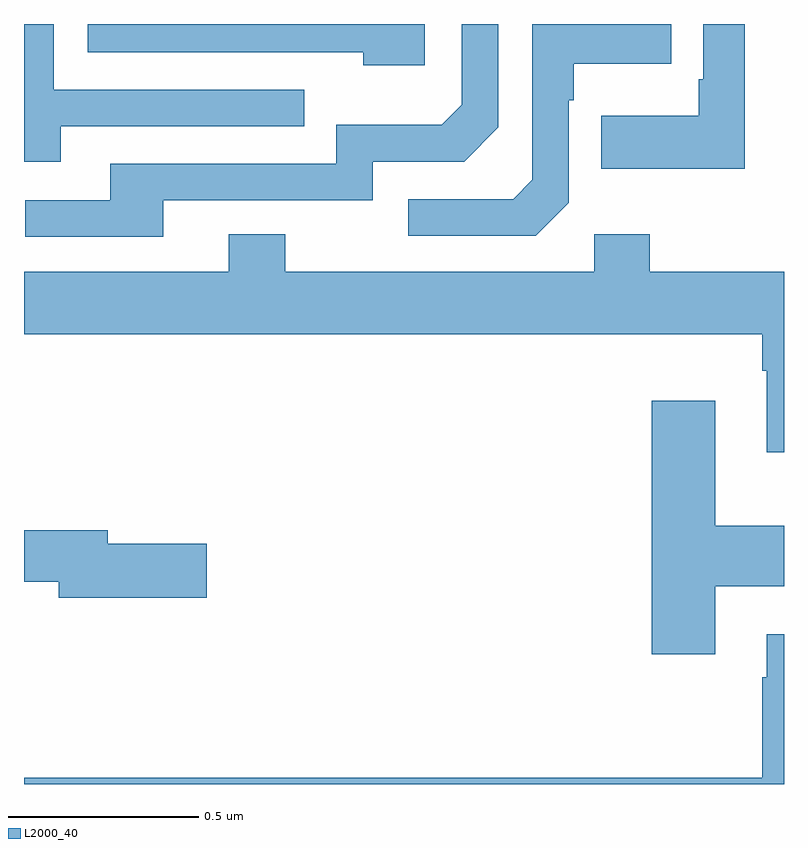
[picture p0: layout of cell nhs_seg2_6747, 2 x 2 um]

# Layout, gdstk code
import gdstk
lib = gdstk.Library(unit=1e-6, precision=1e-09)
def P(c, l, *ps):  # polygons
    for p in ps: c.add(gdstk.Polygon(p, *l))
L2000_40 = (2000, 40)

nhs_seg2_6747 = lib.new_cell('nhs_seg2_6747')
P(nhs_seg2_6747, L2000_40, [(195.097,633.531),(195.737,633.531),(195.737,633.627),(195.078,633.627),(195.078,633.8),(195,633.8),(195,633.437),(195.097,633.437)],
  [(195.367,633.336),(195.918,633.336),(195.918,633.438),(196.158,633.438),(196.248,633.528),(196.248,633.8),(196.152,633.8),(196.152,633.588),(196.099,633.535),(195.822,633.535),(195.822,633.432),(195.227,633.432),(195.227,633.336),(195.003,633.336),(195.003,633.24),(195.367,633.24)],
  [(196.054,633.8),(195.168,633.8),(195.168,633.726),(195.893,633.726),(195.893,633.692),(196.054,633.692)],
  [(196.897,633.8),(196.788,633.8),(196.788,633.655),(196.776,633.655),(196.776,633.559),(196.519,633.559),(196.519,633.419),(196.897,633.419)],
  [(196.434,633.33),(196.434,633.599),(196.447,633.599),(196.447,633.695),(196.703,633.695),(196.703,633.8),(196.338,633.8),(196.338,633.39),(196.287,633.339),(196.011,633.339),(196.011,633.243),(196.347,633.243)],
  [(197,633.148),(196.647,633.148),(196.647,633.247),(196.5,633.247),(196.5,633.148),(195.687,633.148),(195.687,633.247),(195.539,633.247),(195.539,633.148),(195,633.148),(195,632.984),(196.943,632.984),(196.943,632.888),(196.955,632.888),(196.955,632.673),(197,632.673)],
  [(196.819,632.321),(197,632.321),(197,632.479),(196.819,632.479),(196.819,632.809),(196.652,632.809),(196.652,632.142),(196.819,632.142)],
  [(195.481,632.432),(195.22,632.432),(195.22,632.468),(195,632.468),(195,632.332),(195.092,632.332),(195.092,632.29),(195.481,632.29)],
  [(197,632.194),(196.955,632.194),(196.955,632.081),(196.943,632.081),(196.943,631.816),(195,631.816),(195,631.8),(197,631.8)])

lib.write_gds('nhs_seg2_6747.gds')
